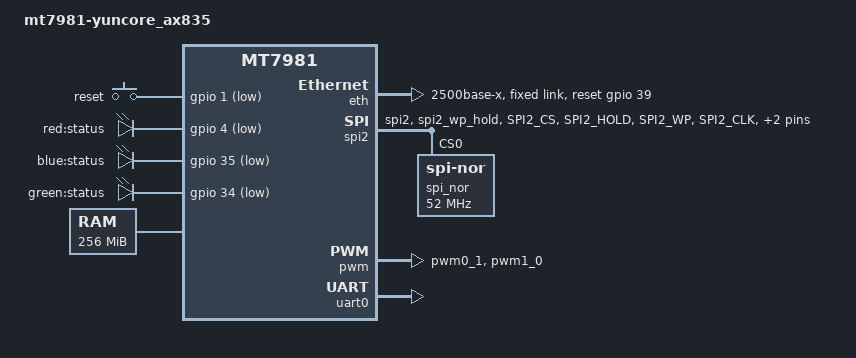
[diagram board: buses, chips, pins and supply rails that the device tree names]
// SPDX-License-Identifier: GPL-2.0-or-later OR MIT

/dts-v1/;
#include "mt7981.dtsi"
#include <dt-bindings/gpio/gpio.h>
#include <dt-bindings/input/linux-event-codes.h>

/ {
	#address-cells = <1>;
	#size-cells = <1>;
	model = "mt7981-yuncore_ax835";
	compatible = "mediatek,mt7981", "mediatek,mt7981-rfb";

	chosen {
		stdout-path = &uart0;
		tick-timer = &timer0;
	};

	config {
		bootcmd = "mtkboardboot";
		blink_led = "red:status";
		system_led = "blue:status";
	};

	gpio-keys {
		compatible = "gpio-keys";

		button-reset {
			label = "reset";
			linux,code = <KEY_RESTART>;
			gpios = <&gpio 1 GPIO_ACTIVE_LOW>;
		};
	};

	leds {
		compatible = "gpio-leds";

		led-0 {
			label = "red:status";
			gpios = <&gpio 4 GPIO_ACTIVE_LOW>;
		};

		led-1 {
			label = "blue:status";
			gpios = <&gpio 35 GPIO_ACTIVE_LOW>;
		};

		led-3 {
			label = "green:status";
			gpios = <&gpio 34 GPIO_ACTIVE_LOW>;
		};
	};

	memory@40000000 {
		device_type = "memory";
		reg = <0x40000000 0x10000000>; // 256mb
	};

	bl2_verify {
		bl2_compatible = "spim-nor";
	};
};

&eth {
	status = "okay";
	mediatek,gmac-id = <0>;
	phy-mode = "2500base-x";
	mediatek,switch = "mt7531";
	reset-gpios = <&gpio 39 GPIO_ACTIVE_HIGH>;

	fixed-link {
		speed = <2500>;
		full-duplex;
	};
};

&pinctrl {
	spic_pins: spi1-pins-func-1 {
		mux {
			function = "spi";
			groups = "spi1_1";
		};
	};

	spi2_flash_pins: spi2-spi2-pins {
		mux {
			function = "spi";
			groups = "spi2", "spi2_wp_hold";
		};

		conf-pu {
			pins = "SPI2_CS", "SPI2_HOLD", "SPI2_WP";
			drive-strength = <MTK_DRIVE_8mA>;
			bias-pull-down = <MTK_PUPD_SET_R1R0_00>;
		};

		conf-pd {
			pins = "SPI2_CLK", "SPI2_MOSI", "SPI2_MISO";
			drive-strength = <MTK_DRIVE_8mA>;
			bias-pull-down = <MTK_PUPD_SET_R1R0_00>;
		};
	};

	uart1_pins: spi1-pins-func-3 {
		mux {
			function = "uart";
			groups = "uart1_2";
		};
	};

	/* pin15 as pwm0 */
	one_pwm_pins: one-pwm-pins {
		mux {
			function = "pwm";
			groups = "pwm0_1";
		};
	};

	/* pin15 as pwm0 and pin14 as pwm1 */
	two_pwm_pins: two-pwm-pins {
		mux {
			function = "pwm";
			groups = "pwm0_1", "pwm1_0";
		};
	};

	/* pin15 as pwm0, pin14 as pwm1, pin7 as pwm2 */
	three_pwm_pins: three-pwm-pins {
		mux {
			function = "pwm";
			groups = "pwm0_1", "pwm1_0", "pwm2";
		};
	};
};

&spi2 {
	#address-cells = <1>;
	#size-cells = <0>;
	pinctrl-names = "default";
	pinctrl-0 = <&spi2_flash_pins>;
	status = "okay";
	must_tx;
	enhance_timing;
	dma_ext;
	ipm_design;
	support_quad;
	tick_dly = <2>;
	sample_sel = <0>;

	spi_nor@0 {
		compatible = "jedec,spi-nor";
		reg = <0>;
		spi-max-frequency = <52000000>;
	};
};

&pwm {
	pinctrl-names = "default";
	pinctrl-0 = <&two_pwm_pins>;
	status = "okay";
};

&uart0 {
	status = "okay";
};

&watchdog {
	status = "disabled";
};
